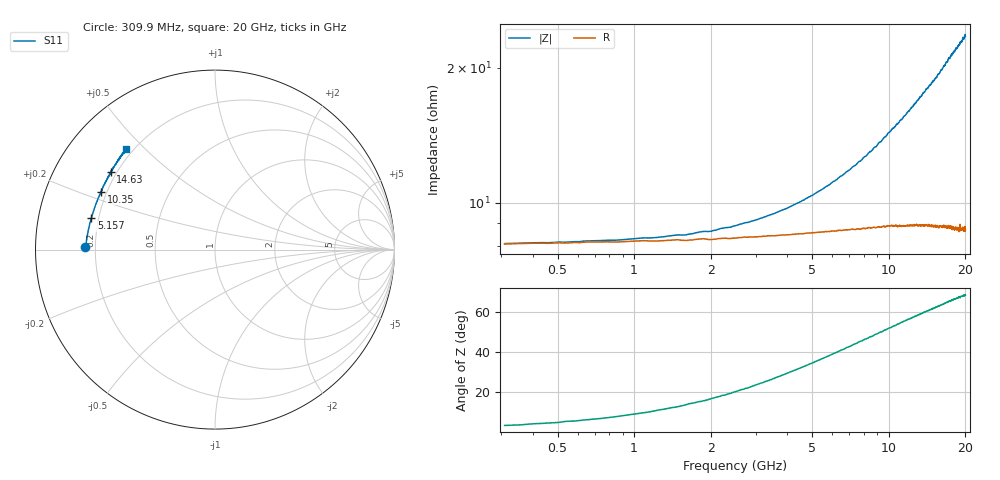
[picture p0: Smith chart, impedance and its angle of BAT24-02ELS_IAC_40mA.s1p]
! Infineon Technologies  Discrete & RF Semiconductors
! BAT24-02ELS
! IAC = 40 mA
! One-Port S-Parameters
# Hz  S  MA  R  50
!f  S11
!Hz  Mag  Ang
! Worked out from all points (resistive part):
!   789 points, 309.9 MHz to 20 GHz, reference 50 ohm
!   read as one part to ground: R = 8.11 ohm at 384.8 MHz
!   S11 on the Smith chart (normalised r, x): 309.9 MHz: 0.16, +0.01; 5.157 GHz: 0.17, +0.12; 10.35 GHz: 0.18, +0.23; 14.63 GHz: 0.18, +0.32; 20 GHz: 0.17, +0.44
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3.0985e8  0.7216 178.9
2.783612e9  0.7143 172.1
5.157425e9  0.7109 165.8
5.232388e9  0.7108 165.6
7.70615e9  0.7109 159.5
1.015492e10  0.7115 153.6
1.035482e10  0.712 153.1
1.262869e10  0.7172 147.8
1.407796e10  0.7208 144.4
1.462769e10  0.7238 143.4
1.507746e10  0.7248 142.5
1.64018e10  0.7298 139.3
1.66017e10  0.7315 138.9
1.677661e10  0.7312 138.4
1.695152e10  0.7328 138.1
1.715142e10  0.7325 137.4
1.755122e10  0.7343 136.6
1.817591e10  0.7384 135.4
1.837581e10  0.7392 134.8
1.855072e10  0.7406 134.6
1.875062e10  0.741 134.1
1.895052e10  0.744 133.8
1.912544e10  0.7419 133.4
1.932534e10  0.7443 133.0
1.950025e10  0.7419 132.6
1.967516e10  0.7449 132.1
1.987506e10  0.7438 131.9
2e10  0.7469 131.7
